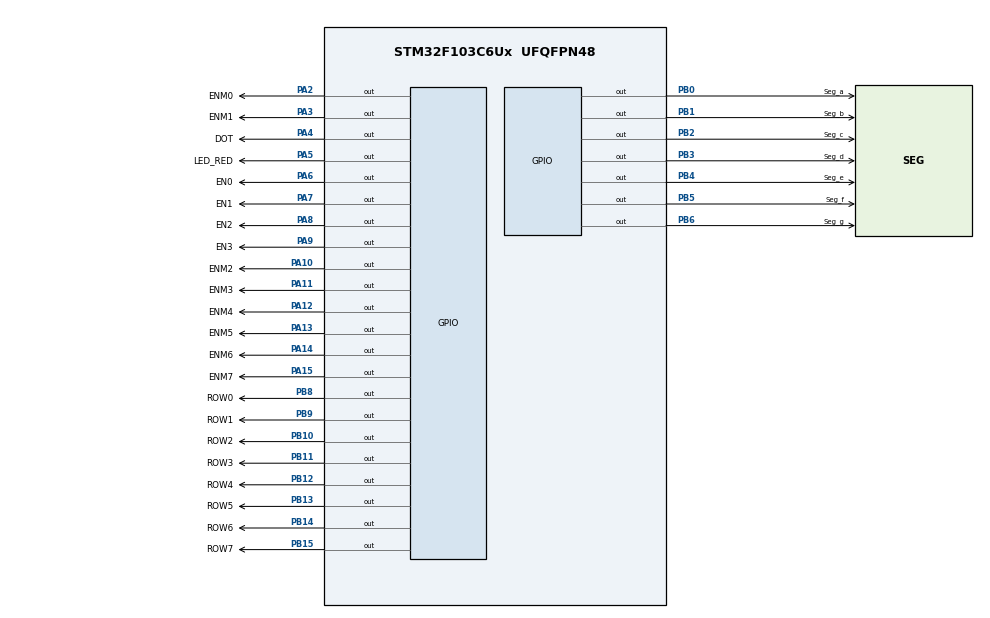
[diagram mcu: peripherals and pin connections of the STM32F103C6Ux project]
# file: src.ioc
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Mcu.Family=STM32F1
Mcu.Name=STM32F103C6Ux
Mcu.Package=UFQFPN48
NVIC.PriorityGroup=NVIC_PRIORITYGROUP_4
NVIC.TIM2_IRQn=true\:0\:0\:false\:false\:true\:true\:true
PA10.GPIO_Label=ENM2
PA10.PinState=GPIO_PIN_RESET
PA10.Signal=GPIO_Output
PA11.GPIO_Label=ENM3
PA11.PinState=GPIO_PIN_RESET
PA11.Signal=GPIO_Output
PA12.GPIO_Label=ENM4
PA12.PinState=GPIO_PIN_RESET
PA12.Signal=GPIO_Output
PA13.GPIO_Label=ENM5
PA13.PinState=GPIO_PIN_RESET
PA13.Signal=GPIO_Output
PA14.GPIO_Label=ENM6
PA14.PinState=GPIO_PIN_RESET
PA14.Signal=GPIO_Output
PA15.GPIO_Label=ENM7
PA15.PinState=GPIO_PIN_RESET
PA15.Signal=GPIO_Output
PA2.GPIO_Label=ENM0
PA2.PinState=GPIO_PIN_RESET
PA2.Signal=GPIO_Output
PA3.GPIO_Label=ENM1
PA3.PinState=GPIO_PIN_RESET
PA3.Signal=GPIO_Output
PA4.GPIO_Label=DOT
PA4.Signal=GPIO_Output
PA5.GPIO_Label=LED_RED
PA5.PinState=GPIO_PIN_SET
PA5.Signal=GPIO_Output
PA6.GPIO_Label=EN0
PA6.PinState=GPIO_PIN_RESET
PA6.Signal=GPIO_Output
PA7.GPIO_Label=EN1
PA7.PinState=GPIO_PIN_SET
PA7.Signal=GPIO_Output
PA8.GPIO_Label=EN2
PA8.PinState=GPIO_PIN_SET
PA8.Signal=GPIO_Output
PA9.GPIO_Label=EN3
PA9.PinState=GPIO_PIN_SET
PA9.Signal=GPIO_Output
PB0.GPIO_Label=Seg_a
PB0.PinState=GPIO_PIN_SET
PB0.Signal=GPIO_Output
PB1.GPIO_Label=Seg_b
PB1.PinState=GPIO_PIN_RESET
PB1.Signal=GPIO_Output
PB10.GPIO_Label=ROW2
PB10.PinState=GPIO_PIN_SET
PB10.Signal=GPIO_Output
PB11.GPIO_Label=ROW3
PB11.PinState=GPIO_PIN_SET
PB11.Signal=GPIO_Output
PB12.GPIO_Label=ROW4
PB12.PinState=GPIO_PIN_SET
PB12.Signal=GPIO_Output
PB13.GPIO_Label=ROW5
PB13.PinState=GPIO_PIN_SET
PB13.Signal=GPIO_Output
PB14.GPIO_Label=ROW6
PB14.PinState=GPIO_PIN_SET
PB14.Signal=GPIO_Output
PB15.GPIO_Label=ROW7
PB15.PinState=GPIO_PIN_SET
PB15.Signal=GPIO_Output
PB2.GPIO_Label=Seg_c
PB2.PinState=GPIO_PIN_RESET
PB2.Signal=GPIO_Output
PB3.GPIO_Label=Seg_d
PB3.PinState=GPIO_PIN_SET
PB3.Signal=GPIO_Output
PB4.GPIO_Label=Seg_e
PB4.PinState=GPIO_PIN_SET
PB4.Signal=GPIO_Output
PB5.GPIO_Label=Seg_f
PB5.PinState=GPIO_PIN_SET
PB5.Signal=GPIO_Output
PB6.GPIO_Label=Seg_g
PB6.PinState=GPIO_PIN_SET
PB6.Signal=GPIO_Output
PB8.GPIO_Label=ROW0
PB8.PinState=GPIO_PIN_SET
PB8.Signal=GPIO_Output
PB9.GPIO_Label=ROW1
PB9.PinState=GPIO_PIN_SET
PB9.Signal=GPIO_Output
ProjectManager.HeapSize=0x200
ProjectManager.StackSize=0x400
ProjectManager.TargetToolchain=STM32CubeIDE
RCC.APB1Freq_Value=8000000
RCC.APB2Freq_Value=8000000
TIM2.Period=9
TIM2.Prescaler=7999
VP_SYS_VS_ND.Mode=No_Debug
VP_TIM2_VS_ClockSourceINT.Mode=Internal
board=custom

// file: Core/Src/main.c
/* USER CODE BEGIN Header */
/**
  ******************************************************************************
  * @file           : main.c
  * @brief          : Main program body
  ******************************************************************************
  * @attention
  *
  * <h2><center>&copy; Copyright (c) 2023 STMicroelectronics.
  * All rights reserved.</center></h2>
  *
  * This software component is licensed by ST under BSD 3-Clause license,
  * the "License"; You may not use this file except in compliance with the
  * License. You may obtain a copy of the License at:
  *                        opensource.org/licenses/BSD-3-Clause
  *
  ******************************************************************************
  */
/* USER CODE END Header */
#include "main.h"

/* USER CODE BEGIN Includes */
#include "software_timer.h"
/* USER CODE END Includes */

TIM_HandleTypeDef htim2;

void SystemClock_Config(void);
static void MX_GPIO_Init(void);
static void MX_TIM2_Init(void);
/* USER CODE BEGIN PFP */
void display7SEG(int);
void update7SEG(int);
void updateClockBuffer(int, int);
void updateColumn(uint8_t);
void updateLEDMatrix(int);
/* USER CODE END PFP */

/* USER CODE BEGIN 0 */
const int MAX_LED = 4;
int index_led = 0;
int led_buffer[4] = {1,5,0,8};

const int MAX_LED_MATRIX = 8;
int index_led_matrix = 0;
uint8_t matrix_buffer[8] = {0xe7,0xc3,0x99,0x99,0x81,0x81,0x99,0x99};
/* USER CODE END 0 */

int main(void)
{

  /* MCU Configuration--------------------------------------------------------*/

  /* Reset of all peripherals, Initializes the Flash interface and the Systick. */
  HAL_Init();

  /* Configure the system clock */
  SystemClock_Config();

  /* Initialize all configured peripherals */
  MX_GPIO_Init();
  MX_TIM2_Init();
  /* USER CODE BEGIN 2 */
  HAL_TIM_Base_Start_IT(&htim2);
  /* USER CODE END 2 */

  /* Infinite loop */
  /* USER CODE BEGIN WHILE */
  setTimer1(25);
  setTimer2(100);
  setTimer3(100);
  setTimer4(100);
  int hour = 15, minute = 8, second = 50;
  update7SEG(index_led++);
  while (1)
  {
    /* USER CODE END WHILE */
	          if(timer1_flag == 1){
	  	  		  if(index_led >= MAX_LED){
	  	  			  index_led = 0;
	  	  		  }
	  	  		  update7SEG(index_led++);
	  	  		  setTimer1(25);
	  	  	  }
	  	  	  if (timer2_flag == 1){
	  	  	  	  HAL_GPIO_TogglePin(DOT_GPIO_Port, DOT_Pin);
	  	  	  	  setTimer2(100);
	  	  	  }
	  	  	  if (timer3_flag == 1){
	  	  		  second++;
	  	  		  if(second >= 60){
	  	  			  second = 0;
	  	  			  minute++;
	  	  		  }
	  	  		  if(minute >= 60){
	  	  			  minute = 0;
	  	  			  hour++;
	  	  		  }
	  	  		  if(hour >= 24){
	  	  			  hour = 0;
	  	  		  }
	  	  		  updateClockBuffer(hour, minute);
	  	  		  setTimer3(100);
	  	  	  }
	  	  	  if(timer4_flag == 1){
	  	  		  if(index_led_matrix >= MAX_LED_MATRIX){
	  	  			 index_led_matrix = 0;
	  	  		  }
	  	  		  updateLEDMatrix(index_led_matrix++);
	  	  		  setTimer4(10);
	  	  	  }
  }
}

void SystemClock_Config(void)
{
  RCC_OscInitTypeDef RCC_OscInitStruct = {0};
  RCC_ClkInitTypeDef RCC_ClkInitStruct = {0};

  /** Initializes the RCC Oscillators according to the specified parameters
  * in the RCC_OscInitTypeDef structure.
  */
  RCC_OscInitStruct.OscillatorType = RCC_OSCILLATORTYPE_HSI;
  RCC_OscInitStruct.HSIState = RCC_HSI_ON;
  RCC_OscInitStruct.HSICalibrationValue = RCC_HSICALIBRATION_DEFAULT;
  RCC_OscInitStruct.PLL.PLLState = RCC_PLL_NONE;
  if (HAL_RCC_OscConfig(&RCC_OscInitStruct) != HAL_OK)
  {
    Error_Handler();
  }
  /** Initializes the CPU, AHB and APB buses clocks
  */
  RCC_ClkInitStruct.ClockType = RCC_CLOCKTYPE_HCLK|RCC_CLOCKTYPE_SYSCLK
                              |RCC_CLOCKTYPE_PCLK1|RCC_CLOCKTYPE_PCLK2;
  RCC_ClkInitStruct.SYSCLKSource = RCC_SYSCLKSOURCE_HSI;
  RCC_ClkInitStruct.AHBCLKDivider = RCC_SYSCLK_DIV1;
  RCC_ClkInitStruct.APB1CLKDivider = RCC_HCLK_DIV1;
  RCC_ClkInitStruct.APB2CLKDivider = RCC_HCLK_DIV1;

  if (HAL_RCC_ClockConfig(&RCC_ClkInitStruct, FLASH_LATENCY_0) != HAL_OK)
  {
    Error_Handler();
  }
}

static void MX_TIM2_Init(void)
{

  TIM_ClockConfigTypeDef sClockSourceConfig = {0};
  TIM_MasterConfigTypeDef sMasterConfig = {0};

  htim2.Instance = TIM2;
  htim2.Init.Prescaler = 7999;
  htim2.Init.CounterMode = TIM_COUNTERMODE_UP;
  htim2.Init.Period = 9;
  htim2.Init.ClockDivision = TIM_CLOCKDIVISION_DIV1;
  htim2.Init.AutoReloadPreload = TIM_AUTORELOAD_PRELOAD_DISABLE;
  if (HAL_TIM_Base_Init(&htim2) != HAL_OK)
  {
    Error_Handler();
  }
  sClockSourceConfig.ClockSource = TIM_CLOCKSOURCE_INTERNAL;
  if (HAL_TIM_ConfigClockSource(&htim2, &sClockSourceConfig) != HAL_OK)
  {
    Error_Handler();
  }
  sMasterConfig.MasterOutputTrigger = TIM_TRGO_RESET;
  sMasterConfig.MasterSlaveMode = TIM_MASTERSLAVEMODE_DISABLE;
  if (HAL_TIMEx_MasterConfigSynchronization(&htim2, &sMasterConfig) != HAL_OK)
  {
    Error_Handler();
  }

}

static void MX_GPIO_Init(void)
{
  GPIO_InitTypeDef GPIO_InitStruct = {0};

  /* GPIO Ports Clock Enable */
  __HAL_RCC_GPIOA_CLK_ENABLE();
  __HAL_RCC_GPIOB_CLK_ENABLE();

  /*Configure GPIO pin Output Level */
  HAL_GPIO_WritePin(GPIOA, ENM0_Pin|ENM1_Pin|DOT_Pin|EN0_Pin
                          |ENM2_Pin|ENM3_Pin|ENM4_Pin|ENM5_Pin
                          |ENM6_Pin|ENM7_Pin, GPIO_PIN_RESET);

  /*Configure GPIO pin Output Level */
  HAL_GPIO_WritePin(GPIOA, LED_RED_Pin|EN1_Pin|EN2_Pin|EN3_Pin, GPIO_PIN_SET);

  /*Configure GPIO pin Output Level */
  HAL_GPIO_WritePin(GPIOB, Seg_a_Pin|ROW2_Pin|ROW3_Pin|ROW4_Pin
                          |ROW5_Pin|ROW6_Pin|ROW7_Pin|Seg_d_Pin
                          |Seg_e_Pin|Seg_f_Pin|Seg_g_Pin|ROW0_Pin
                          |ROW1_Pin, GPIO_PIN_SET);

  /*Configure GPIO pin Output Level */
  HAL_GPIO_WritePin(GPIOB, Seg_b_Pin|Seg_c_Pin, GPIO_PIN_RESET);

  /*Configure GPIO pins : ENM0_Pin ENM1_Pin DOT_Pin LED_RED_Pin
                           EN0_Pin EN1_Pin EN2_Pin EN3_Pin
                           ENM2_Pin ENM3_Pin ENM4_Pin ENM5_Pin
                           ENM6_Pin ENM7_Pin */
  GPIO_InitStruct.Pin = ENM0_Pin|ENM1_Pin|DOT_Pin|LED_RED_Pin
                          |EN0_Pin|EN1_Pin|EN2_Pin|EN3_Pin
                          |ENM2_Pin|ENM3_Pin|ENM4_Pin|ENM5_Pin
                          |ENM6_Pin|ENM7_Pin;
  GPIO_InitStruct.Mode = GPIO_MODE_OUTPUT_PP;
  GPIO_InitStruct.Pull = GPIO_NOPULL;
  GPIO_InitStruct.Speed = GPIO_SPEED_FREQ_LOW;
  HAL_GPIO_Init(GPIOA, &GPIO_InitStruct);

  /*Configure GPIO pins : Seg_a_Pin Seg_b_Pin Seg_c_Pin ROW2_Pin
                           ROW3_Pin ROW4_Pin ROW5_Pin ROW6_Pin
                           ROW7_Pin Seg_d_Pin Seg_e_Pin Seg_f_Pin
                           Seg_g_Pin ROW0_Pin ROW1_Pin */
  GPIO_InitStruct.Pin = Seg_a_Pin|Seg_b_Pin|Seg_c_Pin|ROW2_Pin
                          |ROW3_Pin|ROW4_Pin|ROW5_Pin|ROW6_Pin
                          |ROW7_Pin|Seg_d_Pin|Seg_e_Pin|Seg_f_Pin
                          |Seg_g_Pin|ROW0_Pin|ROW1_Pin;
  GPIO_InitStruct.Mode = GPIO_MODE_OUTPUT_PP;
  GPIO_InitStruct.Pull = GPIO_NOPULL;
  GPIO_InitStruct.Speed = GPIO_SPEED_FREQ_LOW;
  HAL_GPIO_Init(GPIOB, &GPIO_InitStruct);

}

/* USER CODE BEGIN 4 */
void HAL_TIM_PeriodElapsedCallback(TIM_HandleTypeDef *htim){
	timerRun();
}
void display7SEG(int counter){
	if(counter == 0){
		HAL_GPIO_WritePin(GPIOB, Seg_a_Pin|Seg_b_Pin|Seg_c_Pin|Seg_d_Pin|Seg_e_Pin|Seg_f_Pin, GPIO_PIN_RESET);
		HAL_GPIO_WritePin(GPIOB, Seg_g_Pin, GPIO_PIN_SET);
	}
	else if(counter == 1){
		HAL_GPIO_WritePin(GPIOB,Seg_b_Pin|Seg_c_Pin, GPIO_PIN_RESET);
		HAL_GPIO_WritePin(GPIOB, Seg_a_Pin|Seg_d_Pin|Seg_e_Pin|Seg_f_Pin|Seg_g_Pin, GPIO_PIN_SET);
	}
	else if(counter == 2){
		HAL_GPIO_WritePin(GPIOB,Seg_a_Pin|Seg_b_Pin|Seg_d_Pin|Seg_e_Pin|Seg_g_Pin, GPIO_PIN_RESET);
		HAL_GPIO_WritePin(GPIOB, Seg_c_Pin|Seg_f_Pin, GPIO_PIN_SET);
	}
	else if(counter == 3){
		HAL_GPIO_WritePin(GPIOB,Seg_a_Pin|Seg_b_Pin|Seg_c_Pin|Seg_d_Pin|Seg_g_Pin, GPIO_PIN_RESET);
		HAL_GPIO_WritePin(GPIOB, Seg_e_Pin|Seg_f_Pin, GPIO_PIN_SET);
	}
	else if (counter == 4){
		HAL_GPIO_WritePin(GPIOB,Seg_b_Pin|Seg_c_Pin|Seg_f_Pin|Seg_g_Pin, GPIO_PIN_RESET);
		HAL_GPIO_WritePin(GPIOB, Seg_a_Pin|Seg_d_Pin|Seg_e_Pin, GPIO_PIN_SET);
	}
	else if (counter == 5){
		HAL_GPIO_WritePin(GPIOB,Seg_a_Pin|Seg_c_Pin|Seg_d_Pin|Seg_f_Pin|Seg_g_Pin, GPIO_PIN_RESET);
		HAL_GPIO_WritePin(GPIOB, Seg_b_Pin|Seg_e_Pin, GPIO_PIN_SET);
	}
	else if (counter == 6){
		HAL_GPIO_WritePin(GPIOB,Seg_a_Pin|Seg_c_Pin|Seg_d_Pin|Seg_e_Pin|Seg_f_Pin|Seg_g_Pin, GPIO_PIN_RESET);
		HAL_GPIO_WritePin(GPIOB, Seg_b_Pin, GPIO_PIN_SET);
	}
	else if (counter == 7){
		HAL_GPIO_WritePin(GPIOB,Seg_a_Pin|Seg_b_Pin|Seg_c_Pin, GPIO_PIN_RESET);
		HAL_GPIO_WritePin(GPIOB, Seg_d_Pin|Seg_e_Pin|Seg_f_Pin|Seg_g_Pin, GPIO_PIN_SET);
	}
	else if (counter == 8){
		HAL_GPIO_WritePin(GPIOB,Seg_a_Pin|Seg_b_Pin|Seg_c_Pin|Seg_d_Pin|Seg_e_Pin|Seg_f_Pin|Seg_g_Pin, GPIO_PIN_RESET);
	}
	else if (counter == 9){
		HAL_GPIO_WritePin(GPIOB,Seg_a_Pin|Seg_b_Pin|Seg_c_Pin|Seg_d_Pin|Seg_f_Pin|Seg_g_Pin, GPIO_PIN_RESET);
		HAL_GPIO_WritePin(GPIOB,Seg_e_Pin, GPIO_PIN_SET);
	}
}

void update7SEG(int index){
	switch(index){
		case 0:
			HAL_GPIO_WritePin(GPIOA,EN1_Pin|EN2_Pin|EN3_Pin, GPIO_PIN_SET);
			HAL_GPIO_WritePin(GPIOA,EN0_Pin, GPIO_PIN_RESET);
			display7SEG(led_buffer[0]);
			break;

		case 1:
			HAL_GPIO_WritePin(GPIOA,EN0_Pin|EN2_Pin|EN3_Pin, GPIO_PIN_SET);
			HAL_GPIO_WritePin(GPIOA,EN1_Pin, GPIO_PIN_RESET);
			display7SEG(led_buffer[1]);
			break;

		case 2:
			HAL_GPIO_WritePin(GPIOA,EN0_Pin|EN1_Pin|EN3_Pin, GPIO_PIN_SET);
			HAL_GPIO_WritePin(GPIOA,EN2_Pin, GPIO_PIN_RESET);
			display7SEG(led_buffer[2]);
			break;

		case 3:
			HAL_GPIO_WritePin(GPIOA,EN0_Pin|EN1_Pin|EN2_Pin, GPIO_PIN_SET);
			HAL_GPIO_WritePin(GPIOA,EN3_Pin, GPIO_PIN_RESET);
			display7SEG(led_buffer[3]);
			break;

		default:
			break;
	}
}

void updateClockBuffer(int hour, int minute){
	led_buffer[0] = hour / 10;
	led_buffer[1] = hour % 10;
	led_buffer[2] = minute / 10;
	led_buffer[3] = minute % 10;
}

void updateColumn(uint8_t hexValue){
	HAL_GPIO_WritePin(GPIOA, ENM0_Pin, (int)(hexValue >> 7) & 1);
	HAL_GPIO_WritePin(GPIOA, ENM1_Pin, (int)(hexValue >> 6) & 1);
	HAL_GPIO_WritePin(GPIOA, ENM2_Pin, (int)(hexValue >> 5) & 1);
	HAL_GPIO_WritePin(GPIOA, ENM3_Pin, (int)(hexValue >> 4) & 1);
	HAL_GPIO_WritePin(GPIOA, ENM4_Pin, (int)(hexValue >> 3) & 1);
	HAL_GPIO_WritePin(GPIOA, ENM5_Pin, (int)(hexValue >> 2) & 1);
	HAL_GPIO_WritePin(GPIOA, ENM6_Pin, (int)(hexValue >> 1) & 1);
	HAL_GPIO_WritePin(GPIOA, ENM7_Pin, (int)(hexValue >> 0) & 1);
}
uint8_t tmp = 0;
void updateLEDMatrix(int index){
	switch (index) {
		case 0:
			HAL_GPIO_WritePin(GPIOB, ROW0_Pin, GPIO_PIN_RESET);
			HAL_GPIO_WritePin(GPIOB, ROW1_Pin|ROW2_Pin|ROW3_Pin|ROW4_Pin|ROW5_Pin|ROW6_Pin|ROW7_Pin, GPIO_PIN_SET);
			updateColumn(matrix_buffer[0]);
			tmp = matrix_buffer[0];
			break;
		case 1:
			HAL_GPIO_WritePin(GPIOB, ROW1_Pin, GPIO_PIN_RESET);
			HAL_GPIO_WritePin(GPIOB, ROW0_Pin|ROW2_Pin|ROW3_Pin|ROW4_Pin|ROW5_Pin|ROW6_Pin|ROW7_Pin, GPIO_PIN_SET);
			updateColumn(matrix_buffer[1]);
			break;
		case 2:
			HAL_GPIO_WritePin(GPIOB, ROW2_Pin, GPIO_PIN_RESET);
			HAL_GPIO_WritePin(GPIOB, ROW0_Pin|ROW1_Pin|ROW3_Pin|ROW4_Pin|ROW5_Pin|ROW6_Pin|ROW7_Pin, GPIO_PIN_SET);
			updateColumn(matrix_buffer[2]);
			break;
		case 3:
			HAL_GPIO_WritePin(GPIOB, ROW3_Pin, GPIO_PIN_RESET);
			HAL_GPIO_WritePin(GPIOB, ROW0_Pin|ROW1_Pin|ROW2_Pin|ROW4_Pin|ROW5_Pin|ROW6_Pin|ROW7_Pin, GPIO_PIN_SET);
			updateColumn(matrix_buffer[3]);
			break;
		case 4:
			HAL_GPIO_WritePin(GPIOB, ROW4_Pin, GPIO_PIN_RESET);
			HAL_GPIO_WritePin(GPIOB, ROW0_Pin|ROW1_Pin|ROW2_Pin|ROW3_Pin|ROW5_Pin|ROW6_Pin|ROW7_Pin, GPIO_PIN_SET);
			updateColumn(matrix_buffer[4]);
			break;
		case 5:
			HAL_GPIO_WritePin(GPIOB, ROW5_Pin, GPIO_PIN_RESET);
			HAL_GPIO_WritePin(GPIOB, ROW0_Pin|ROW1_Pin|ROW2_Pin|ROW3_Pin|ROW4_Pin|ROW6_Pin|ROW7_Pin, GPIO_PIN_SET);
			updateColumn(matrix_buffer[5]);
			break;
		case 6:
			HAL_GPIO_WritePin(GPIOB, ROW6_Pin, GPIO_PIN_RESET);
			HAL_GPIO_WritePin(GPIOB, ROW0_Pin|ROW1_Pin|ROW2_Pin|ROW3_Pin|ROW4_Pin|ROW5_Pin|ROW7_Pin, GPIO_PIN_SET);
			updateColumn(matrix_buffer[6]);
			break;
		case 7:
			HAL_GPIO_WritePin(GPIOB, ROW7_Pin, GPIO_PIN_RESET);
			HAL_GPIO_WritePin(GPIOB, ROW0_Pin|ROW1_Pin|ROW2_Pin|ROW3_Pin|ROW4_Pin|ROW5_Pin|ROW6_Pin, GPIO_PIN_SET);
			updateColumn(matrix_buffer[7]);
			break;
		default:
			break;
	}
	if(index >= 7){
		matrix_buffer[index] = tmp;
	}
	else {
		matrix_buffer[index] = matrix_buffer[index + 1];
	}

}
/* USER CODE END 4 */

void Error_Handler(void)
{
  __disable_irq();
  while (1)
  {
  }
}

/************************ (C) COPYRIGHT STMicroelectronics *****END OF FILE****/
